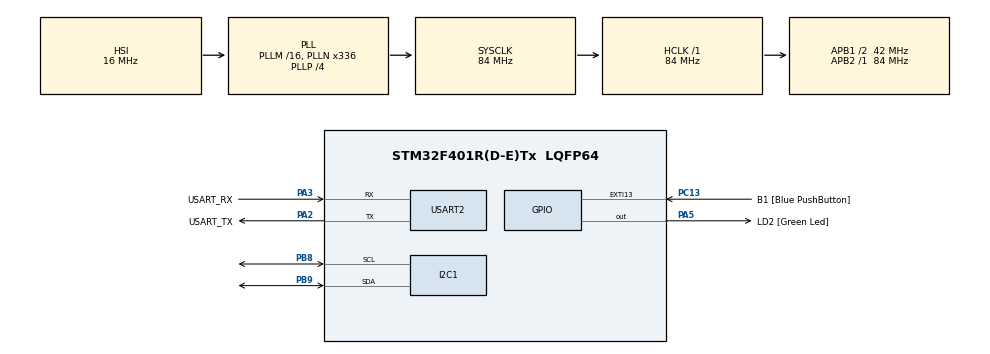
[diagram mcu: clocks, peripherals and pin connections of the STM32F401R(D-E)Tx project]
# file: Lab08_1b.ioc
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Dma.Request0=USART2_TX
Dma.USART2_TX.0.Direction=DMA_MEMORY_TO_PERIPH
Dma.USART2_TX.0.FIFOMode=DMA_FIFOMODE_DISABLE
Dma.USART2_TX.0.Instance=DMA1_Stream6
Dma.USART2_TX.0.MemDataAlignment=DMA_MDATAALIGN_BYTE
Dma.USART2_TX.0.MemInc=DMA_MINC_ENABLE
Dma.USART2_TX.0.Mode=DMA_NORMAL
Dma.USART2_TX.0.PeriphDataAlignment=DMA_PDATAALIGN_BYTE
Dma.USART2_TX.0.PeriphInc=DMA_PINC_DISABLE
Dma.USART2_TX.0.Priority=DMA_PRIORITY_HIGH
Mcu.Family=STM32F4
Mcu.Name=STM32F401R(D-E)Tx
Mcu.Package=LQFP64
NVIC.DMA1_Stream6_IRQn=true\:0\:0\:false\:false\:true\:false\:true\:true
NVIC.PriorityGroup=NVIC_PRIORITYGROUP_4
NVIC.TIM2_IRQn=true\:0\:0\:false\:false\:true\:true\:true\:true
NVIC.USART2_IRQn=true\:0\:0\:false\:false\:true\:true\:true\:true
PA13.GPIO_Label=TMS
PA13.Mode=Trace_Asynchronous_SW
PA13.Signal=SYS_JTMS-SWDIO
PA14.GPIO_Label=TCK
PA14.Mode=Trace_Asynchronous_SW
PA14.Signal=SYS_JTCK-SWCLK
PA2.GPIO_Label=USART_TX
PA2.GPIO_Mode=GPIO_MODE_AF_PP
PA2.GPIO_PuPd=GPIO_NOPULL
PA2.GPIO_Speed=GPIO_SPEED_FREQ_LOW
PA2.Mode=Asynchronous
PA2.Signal=USART2_TX
PA3.GPIO_Label=USART_RX
PA3.GPIO_Mode=GPIO_MODE_AF_PP
PA3.GPIO_PuPd=GPIO_NOPULL
PA3.GPIO_Speed=GPIO_SPEED_FREQ_LOW
PA3.Mode=Asynchronous
PA3.Signal=USART2_RX
PA5.GPIO_Label=LD2 [Green Led]
PA5.GPIO_Mode=GPIO_MODE_OUTPUT_PP
PA5.GPIO_PuPd=GPIO_NOPULL
PA5.GPIO_Speed=GPIO_SPEED_FREQ_LOW
PA5.Signal=GPIO_Output
PB3.GPIO_Label=SWO
PB3.Mode=Trace_Asynchronous_SW
PB3.Signal=SYS_JTDO-SWO
PB8.Mode=I2C
PB8.Signal=I2C1_SCL
PB9.Mode=I2C
PB9.Signal=I2C1_SDA
PC13-ANTI_TAMP.GPIO_Label=B1 [Blue PushButton]
PC13-ANTI_TAMP.GPIO_ModeDefaultEXTI=GPIO_MODE_IT_FALLING
PC13-ANTI_TAMP.GPIO_PuPd=GPIO_NOPULL
PC13-ANTI_TAMP.Signal=GPXTI13
PC14-OSC32_IN.Mode=LSE-External-Oscillator
PC14-OSC32_IN.Signal=RCC_OSC32_IN
PC15-OSC32_OUT.Mode=LSE-External-Oscillator
PC15-OSC32_OUT.Signal=RCC_OSC32_OUT
PH0\ -\ OSC_IN.Mode=HSE-External-Clock-Source
PH0\ -\ OSC_IN.Signal=RCC_OSC_IN
PH1\ -\ OSC_OUT.Mode=HSE-External-Clock-Source
PH1\ -\ OSC_OUT.Signal=RCC_OSC_OUT
ProjectManager.HeapSize=0x200
ProjectManager.StackSize=0x400
ProjectManager.TargetToolchain=STM32CubeIDE
RCC.48MHZClocksFreq_Value=48000000
RCC.AHBFreq_Value=84000000
RCC.APB1CLKDivider=RCC_HCLK_DIV2
RCC.APB1Freq_Value=42000000
RCC.APB1TimFreq_Value=84000000
RCC.APB2Freq_Value=84000000
RCC.APB2TimFreq_Value=84000000
RCC.CortexFreq_Value=84000000
RCC.HCLKFreq_Value=84000000
RCC.HSE_VALUE=8000000
RCC.HSI_VALUE=16000000
RCC.PLLN=336
RCC.PLLP=RCC_PLLP_DIV4
RCC.PLLQ=7
RCC.SYSCLKFreq_VALUE=84000000
RCC.SYSCLKSource=RCC_SYSCLKSOURCE_PLLCLK
RCC.VCOOutputFreq_Value=336000000
TIM2.Period=839999
TIM2.Prescaler=99
USART2.VirtualMode=VM_ASYNC
VP_TIM2_VS_ClockSourceINT.Mode=Internal
board=NUCLEO-F401RE

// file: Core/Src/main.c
/* USER CODE BEGIN Header */
/**
  ******************************************************************************
  * @file           : main.c
  * @brief          : Main program body
  ******************************************************************************
  * @attention
  *
  * Copyright (c) 2026 STMicroelectronics.
  * All rights reserved.
  *
  * This software is licensed under terms that can be found in the LICENSE file
  * in the root directory of this software component.
  * If no LICENSE file comes with this software, it is provided AS-IS.
  *
  ******************************************************************************
  */
/* USER CODE END Header */
#include "main.h"

/* USER CODE BEGIN Includes */
#include "stdio.h"
#include "string.h"
/* USER CODE END Includes */

/* USER CODE BEGIN PD */
#define LIS2DE_ADDR (0b0101000 << 1)
#define CTRL_REG1_ADDR (0x20)
#define CTRL_REG4_ADDR (0x23)
#define OUT_X_ADDR (0x29)
#define OUT_Y_ADDR (0x2B)
#define OUT_Z_ADDR (0x2D)
/* USER CODE END PD */

I2C_HandleTypeDef hi2c1;

TIM_HandleTypeDef htim2;

UART_HandleTypeDef huart2;
DMA_HandleTypeDef hdma_usart2_tx;

/* USER CODE BEGIN PV */
uint8_t ctrl1_config=0x17; // 0001 0111
// ODR[3:0] = 0001 -> 1 Hz
// lPen = 0 -> Normal Mode (non low-power)
// Zen, Yen, Xen = 1 -> tutti gli assi abilitati
uint8_t ctrl4_config = 0x00; // default 0000 0000
// FSR = +/-2g e Normal Mode (non Self Test)

uint8_t raw[5];
char message[100];
int n;

float acc[3];

/* USER CODE END PV */

void SystemClock_Config(void);
static void MX_GPIO_Init(void);
static void MX_DMA_Init(void);
static void MX_USART2_UART_Init(void);
static void MX_I2C1_Init(void);
static void MX_TIM2_Init(void);
/* USER CODE BEGIN PFP */
void AccelerometerInitialization(void);
void ReadAccelerometer(float *vector);
/* USER CODE END PFP */

/* USER CODE BEGIN 0 */
void AccelerometerInitialization(void){
	HAL_I2C_Mem_Write(&hi2c1, LIS2DE_ADDR, CTRL_REG1_ADDR, I2C_MEMADD_SIZE_8BIT, &ctrl1_config, 1, HAL_MAX_DELAY);
	HAL_I2C_Mem_Write(&hi2c1, LIS2DE_ADDR, CTRL_REG4_ADDR, I2C_MEMADD_SIZE_8BIT, &ctrl4_config, 1, HAL_MAX_DELAY);
	return;
}

void ReadAccelerometer(float *vector){
	HAL_I2C_Mem_Read(&hi2c1, LIS2DE_ADDR, OUT_X_ADDR | 0x80, I2C_MEMADD_SIZE_8BIT, raw, 5, HAL_MAX_DELAY);

	vector[0] = ((int8_t)raw[0] * 15.6) / 1000.0;  // OUT_X
	vector[1] = ((int8_t)raw[2] * 15.6) / 1000.0;  // OUT_Y (raw[1] reserved)
	vector[2] = ((int8_t)raw[4] * 15.6) / 1000.0;  // OUT_Z (raw[3] reserved)
}

void HAL_TIM_PeriodElapsedCallback(TIM_HandleTypeDef *htim)
{
    if (htim->Instance == TIM2)
    {
    	ReadAccelerometer(acc);

    	n = sprintf(message, "X: %+.2f g\r\nY: %+.2f g\r\nZ: %+.2f g\r\n", acc[0], acc[1], acc[2]);

    	HAL_UART_Transmit_DMA(&huart2, (uint8_t*)message, n);
    }
}
/* USER CODE END 0 */

int main(void)
{

  /* MCU Configuration--------------------------------------------------------*/

  /* Reset of all peripherals, Initializes the Flash interface and the Systick. */
  HAL_Init();

  /* Configure the system clock */
  SystemClock_Config();

  /* Initialize all configured peripherals */
  MX_GPIO_Init();
  MX_DMA_Init();
  MX_USART2_UART_Init();
  MX_I2C1_Init();
  MX_TIM2_Init();
  /* USER CODE BEGIN 2 */
  AccelerometerInitialization();
  HAL_TIM_Base_Start_IT(&htim2);

  /* USER CODE END 2 */

  /* Infinite loop */
  while (1)
  {

  }
}

void SystemClock_Config(void)
{
  RCC_OscInitTypeDef RCC_OscInitStruct = {0};
  RCC_ClkInitTypeDef RCC_ClkInitStruct = {0};

  /** Configure the main internal regulator output voltage
  */
  __HAL_RCC_PWR_CLK_ENABLE();
  __HAL_PWR_VOLTAGESCALING_CONFIG(PWR_REGULATOR_VOLTAGE_SCALE2);

  /** Initializes the RCC Oscillators according to the specified parameters
  * in the RCC_OscInitTypeDef structure.
  */
  RCC_OscInitStruct.OscillatorType = RCC_OSCILLATORTYPE_HSI;
  RCC_OscInitStruct.HSIState = RCC_HSI_ON;
  RCC_OscInitStruct.HSICalibrationValue = RCC_HSICALIBRATION_DEFAULT;
  RCC_OscInitStruct.PLL.PLLState = RCC_PLL_ON;
  RCC_OscInitStruct.PLL.PLLSource = RCC_PLLSOURCE_HSI;
  RCC_OscInitStruct.PLL.PLLM = 16;
  RCC_OscInitStruct.PLL.PLLN = 336;
  RCC_OscInitStruct.PLL.PLLP = RCC_PLLP_DIV4;
  RCC_OscInitStruct.PLL.PLLQ = 7;
  if (HAL_RCC_OscConfig(&RCC_OscInitStruct) != HAL_OK)
  {
    Error_Handler();
  }

  /** Initializes the CPU, AHB and APB buses clocks
  */
  RCC_ClkInitStruct.ClockType = RCC_CLOCKTYPE_HCLK|RCC_CLOCKTYPE_SYSCLK
                              |RCC_CLOCKTYPE_PCLK1|RCC_CLOCKTYPE_PCLK2;
  RCC_ClkInitStruct.SYSCLKSource = RCC_SYSCLKSOURCE_PLLCLK;
  RCC_ClkInitStruct.AHBCLKDivider = RCC_SYSCLK_DIV1;
  RCC_ClkInitStruct.APB1CLKDivider = RCC_HCLK_DIV2;
  RCC_ClkInitStruct.APB2CLKDivider = RCC_HCLK_DIV1;

  if (HAL_RCC_ClockConfig(&RCC_ClkInitStruct, FLASH_LATENCY_2) != HAL_OK)
  {
    Error_Handler();
  }
}

static void MX_I2C1_Init(void)
{

  hi2c1.Instance = I2C1;
  hi2c1.Init.ClockSpeed = 100000;
  hi2c1.Init.DutyCycle = I2C_DUTYCYCLE_2;
  hi2c1.Init.OwnAddress1 = 0;
  hi2c1.Init.AddressingMode = I2C_ADDRESSINGMODE_7BIT;
  hi2c1.Init.DualAddressMode = I2C_DUALADDRESS_DISABLE;
  hi2c1.Init.OwnAddress2 = 0;
  hi2c1.Init.GeneralCallMode = I2C_GENERALCALL_DISABLE;
  hi2c1.Init.NoStretchMode = I2C_NOSTRETCH_DISABLE;
  if (HAL_I2C_Init(&hi2c1) != HAL_OK)
  {
    Error_Handler();
  }

}

static void MX_TIM2_Init(void)
{

  TIM_ClockConfigTypeDef sClockSourceConfig = {0};
  TIM_MasterConfigTypeDef sMasterConfig = {0};

  htim2.Instance = TIM2;
  htim2.Init.Prescaler = 99;
  htim2.Init.CounterMode = TIM_COUNTERMODE_UP;
  htim2.Init.Period = 839999;
  htim2.Init.ClockDivision = TIM_CLOCKDIVISION_DIV1;
  htim2.Init.AutoReloadPreload = TIM_AUTORELOAD_PRELOAD_DISABLE;
  if (HAL_TIM_Base_Init(&htim2) != HAL_OK)
  {
    Error_Handler();
  }
  sClockSourceConfig.ClockSource = TIM_CLOCKSOURCE_INTERNAL;
  if (HAL_TIM_ConfigClockSource(&htim2, &sClockSourceConfig) != HAL_OK)
  {
    Error_Handler();
  }
  sMasterConfig.MasterOutputTrigger = TIM_TRGO_RESET;
  sMasterConfig.MasterSlaveMode = TIM_MASTERSLAVEMODE_DISABLE;
  if (HAL_TIMEx_MasterConfigSynchronization(&htim2, &sMasterConfig) != HAL_OK)
  {
    Error_Handler();
  }

}

static void MX_USART2_UART_Init(void)
{

  huart2.Instance = USART2;
  huart2.Init.BaudRate = 115200;
  huart2.Init.WordLength = UART_WORDLENGTH_8B;
  huart2.Init.StopBits = UART_STOPBITS_1;
  huart2.Init.Parity = UART_PARITY_NONE;
  huart2.Init.Mode = UART_MODE_TX_RX;
  huart2.Init.HwFlowCtl = UART_HWCONTROL_NONE;
  huart2.Init.OverSampling = UART_OVERSAMPLING_16;
  if (HAL_UART_Init(&huart2) != HAL_OK)
  {
    Error_Handler();
  }

}

static void MX_DMA_Init(void)
{

  /* DMA controller clock enable */
  __HAL_RCC_DMA1_CLK_ENABLE();

  /* DMA interrupt init */
  /* DMA1_Stream6_IRQn interrupt configuration */
  HAL_NVIC_SetPriority(DMA1_Stream6_IRQn, 0, 0);
  HAL_NVIC_EnableIRQ(DMA1_Stream6_IRQn);

}

static void MX_GPIO_Init(void)
{
  GPIO_InitTypeDef GPIO_InitStruct = {0};

  /* GPIO Ports Clock Enable */
  __HAL_RCC_GPIOC_CLK_ENABLE();
  __HAL_RCC_GPIOH_CLK_ENABLE();
  __HAL_RCC_GPIOA_CLK_ENABLE();
  __HAL_RCC_GPIOB_CLK_ENABLE();

  /*Configure GPIO pin Output Level */
  HAL_GPIO_WritePin(LD2_GPIO_Port, LD2_Pin, GPIO_PIN_RESET);

  /*Configure GPIO pin : B1_Pin */
  GPIO_InitStruct.Pin = B1_Pin;
  GPIO_InitStruct.Mode = GPIO_MODE_IT_FALLING;
  GPIO_InitStruct.Pull = GPIO_NOPULL;
  HAL_GPIO_Init(B1_GPIO_Port, &GPIO_InitStruct);

  /*Configure GPIO pin : LD2_Pin */
  GPIO_InitStruct.Pin = LD2_Pin;
  GPIO_InitStruct.Mode = GPIO_MODE_OUTPUT_PP;
  GPIO_InitStruct.Pull = GPIO_NOPULL;
  GPIO_InitStruct.Speed = GPIO_SPEED_FREQ_LOW;
  HAL_GPIO_Init(LD2_GPIO_Port, &GPIO_InitStruct);

}

void Error_Handler(void)
{
  __disable_irq();
  while (1)
  {
  }
}
